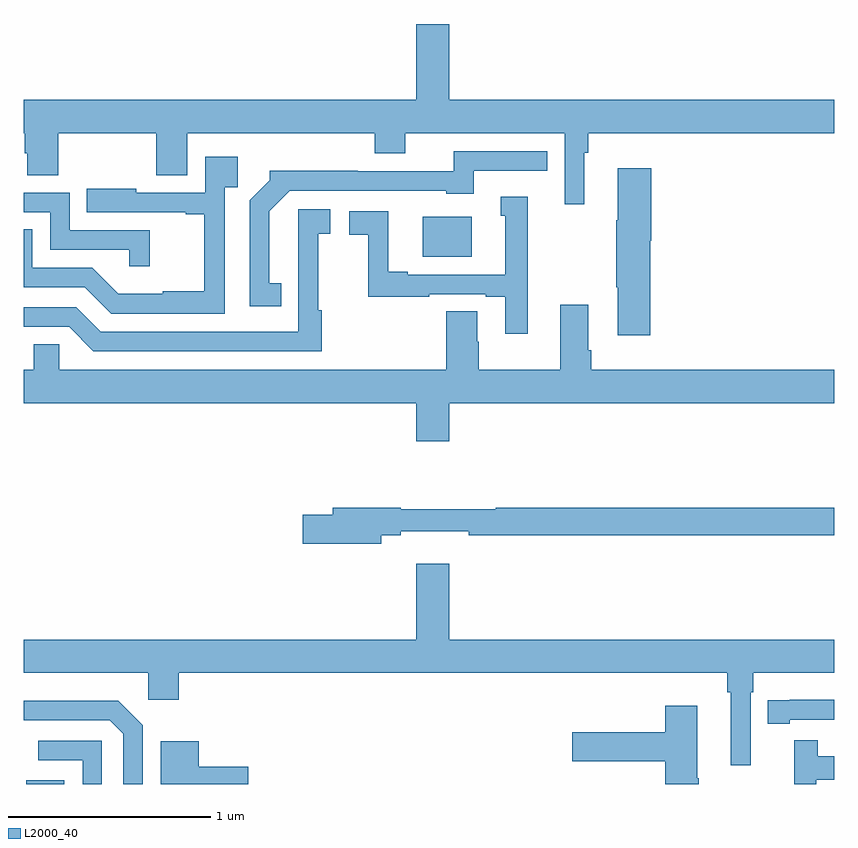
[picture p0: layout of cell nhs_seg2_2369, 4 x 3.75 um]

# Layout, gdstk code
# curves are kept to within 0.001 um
import gdstk
lib = gdstk.Library(unit=1e-6, precision=1e-09)
def R(c, l, rs):  # rectangles x0, y0, x1, y1
    for r in rs: c.add(gdstk.rectangle(r[:2], r[2:], *l))
def P(c, l, *ps):  # polygons
    for p in ps: c.add(gdstk.Polygon(p, *l))
L2000_40 = (2000, 40)

nhs_seg2_2369 = lib.new_cell('nhs_seg2_2369')
R(nhs_seg2_2369, L2000_40, [(235.013,601.8,235.201,601.819), (236.969,604.403,237.211,604.6)])
P(nhs_seg2_2369, L2000_40, [(237.766,604.916),(237.785,604.916),(237.785,605.012),(239,605.012),(239,605.176),(237.1,605.176),(237.1,605.551),(236.936,605.551),(236.936,605.176),(235,605.176),(235,605.012),(235.004,605.012),(235.004,604.914),(235.016,604.914),(235.016,604.804),(235.169,604.804),(235.169,605.012),(235.655,605.012),(235.655,604.804),(235.807,604.804),(235.807,605.012),(236.732,605.012),(236.732,604.913),(236.884,604.913),(236.884,605.012),(237.669,605.012),(237.669,604.662),(237.766,604.662)],
  [(236.27,604.271),(236.212,604.271),(236.212,604.627),(236.313,604.728),(237.084,604.728),(237.084,604.712),(237.22,604.712),(237.22,604.827),(237.584,604.827),(237.584,604.923),(237.121,604.923),(237.121,604.824),(236.648,604.824),(236.648,604.826),(236.214,604.826),(236.214,604.781),(236.115,604.682),(236.115,604.158),(236.27,604.158)],
  [(235.992,604.745),(236.057,604.745),(236.057,604.897),(235.896,604.897),(235.896,604.719),(235.555,604.719),(235.555,604.738),(235.312,604.738),(235.312,604.623),(235.799,604.623),(235.799,604.611),(235.891,604.611),(235.891,604.231),(235.685,604.231),(235.685,604.219),(235.466,604.219),(235.338,604.347),(235.042,604.347),(235.042,604.538),(235,604.538),(235,604.251),(235.302,604.251),(235.431,604.122),(235.992,604.122)],
  [(238.091,604.482),(238.096,604.482),(238.096,604.84),(237.932,604.84),(237.932,604.582),(237.925,604.582),(237.925,604.252),(237.932,604.252),(237.932,604.014),(238.091,604.014)],
  [(235.622,604.533),(235.227,604.533),(235.227,604.719),(235,604.719),(235,604.623),(235.131,604.623),(235.131,604.437),(235.521,604.437),(235.521,604.356),(235.622,604.356)],
  [(237.487,604.699),(237.353,604.699),(237.353,604.605),(237.377,604.605),(237.377,604.314),(236.896,604.314),(236.896,604.327),(236.8,604.327),(236.8,604.626),(236.607,604.626),(236.607,604.51),(236.701,604.51),(236.701,604.206),(237.002,604.206),(237.002,604.218),(237.281,604.218),(237.281,604.206),(237.377,604.206),(237.377,604.023),(237.487,604.023)],
  [(236.471,604.139),(236.454,604.139),(236.454,604.515),(236.512,604.515),(236.512,604.636),(236.354,604.636),(236.355,604.032),(235.38,604.032),(235.26,604.152),(235,604.152),(235,604.056),(235.224,604.056),(235.344,603.936),(236.471,603.936)],
  [(237.1,603.68),(239,603.68),(239,603.844),(237.8,603.844),(237.8,603.94),(237.787,603.94),(237.787,604.165),(237.647,604.165),(237.647,603.844),(237.246,603.844),(237.246,603.983),(237.238,603.983),(237.238,604.133),(237.086,604.133),(237.086,603.844),(235.176,603.844),(235.176,603.971),(235.049,603.971),(235.049,603.844),(235,603.844),(235,603.68),(236.936,603.68),(236.936,603.492),(237.1,603.492)],
  [(236.764,603.028),(236.86,603.028),(236.86,603.047),(237.196,603.047),(237.196,603.028),(239,603.028),(239,603.164),(237.329,603.164),(237.329,603.157),(236.86,603.157),(236.86,603.164),(236.525,603.164),(236.525,603.128),(236.376,603.128),(236.376,602.986),(236.764,602.986)],
  [(238.587,602.252),(238.601,602.252),(238.601,602.348),(239,602.348),(239,602.512),(237.1,602.512),(237.1,602.887),(236.936,602.887),(236.936,602.512),(235,602.512),(235,602.348),(235.614,602.348),(235.614,602.217),(235.766,602.217),(235.766,602.348),(238.471,602.348),(238.471,602.252),(238.49,602.252),(238.49,601.893),(238.587,601.893)],
  [(238.78,602.118),(239,602.118),(239,602.215),(238.78,602.215),(238.78,602.214),(238.672,602.214),(238.672,602.098),(238.78,602.098)],
  [(235.587,602.091),(235.466,602.212),(235,602.212),(235,602.115),(235.425,602.115),(235.491,602.049),(235.491,601.8),(235.587,601.8)],
  [(238.332,601.829),(238.324,601.829),(238.324,602.185),(238.166,602.185),(238.166,602.055),(237.708,602.055),(237.708,601.913),(238.166,601.913),(238.166,601.8),(238.332,601.8)],
  [(238.912,601.822),(239,601.822),(239,601.938),(238.919,601.938),(238.919,602.017),(238.802,602.017),(238.802,601.8),(238.912,601.8)],
  [(235.386,602.013),(235.071,602.013),(235.071,601.917),(235.29,601.917),(235.29,601.8),(235.386,601.8)],
  [(236.107,601.884),(235.864,601.884),(235.864,602.011),(235.676,602.011),(235.676,601.8),(236.107,601.8)])

lib.write_gds('nhs_seg2_2369.gds')
